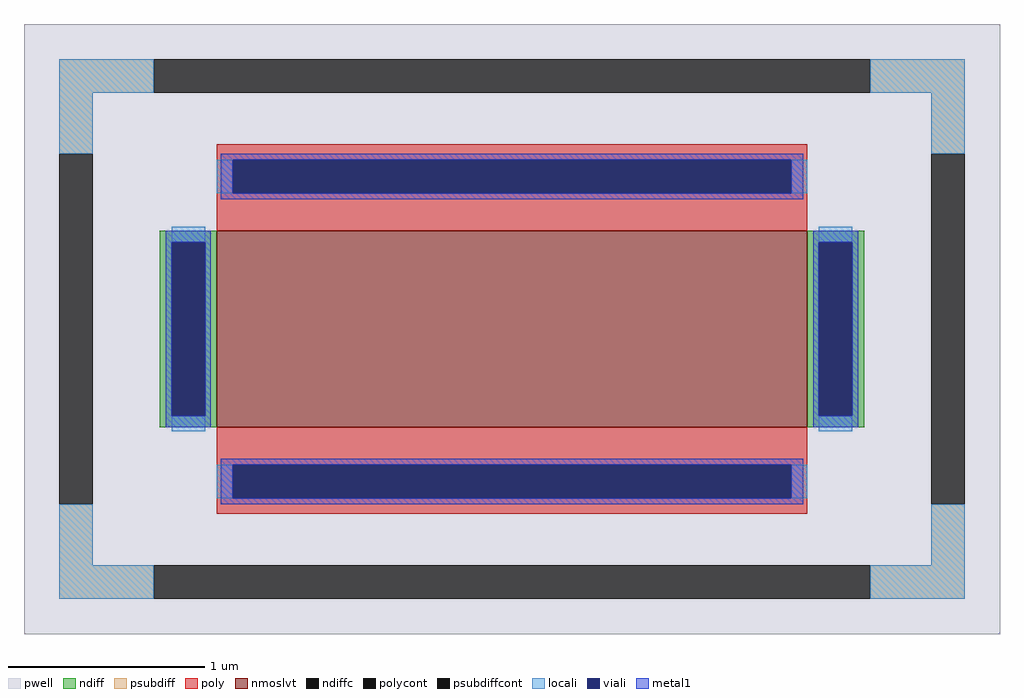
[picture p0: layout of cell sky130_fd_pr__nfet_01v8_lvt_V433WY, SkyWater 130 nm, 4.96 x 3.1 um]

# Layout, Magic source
magic
tech sky130A
<< pwell >>
rect -248 -155 248 155
<< nmoslvt >>
rect -150 -50 150 50
<< ndiff >>
rect -179 44 -150 50
rect -179 -44 -173 44
rect -156 -44 -150 44
rect -179 -50 -150 -44
rect 150 44 179 50
rect 150 -44 156 44
rect 173 -44 179 44
rect 150 -50 179 -44
<< ndiffc >>
rect -173 -44 -156 44
rect 156 -44 173 44
<< psubdiff >>
rect -230 120 -182 137
rect 182 120 230 137
rect -230 89 -213 120
rect 213 89 230 120
rect -230 -120 -213 -89
rect 213 -120 230 -89
rect -230 -137 -182 -120
rect 182 -137 230 -120
<< psubdiffcont >>
rect -182 120 182 137
rect -230 -89 -213 89
rect 213 -89 230 89
rect -182 -137 182 -120
<< poly >>
rect -150 86 150 94
rect -150 69 -142 86
rect 142 69 150 86
rect -150 50 150 69
rect -150 -69 150 -50
rect -150 -86 -142 -69
rect 142 -86 150 -69
rect -150 -94 150 -86
<< polycont >>
rect -142 69 142 86
rect -142 -86 142 -69
<< locali >>
rect -230 120 -182 137
rect 182 120 230 137
rect -230 89 -213 120
rect 213 89 230 120
rect -150 69 -142 86
rect 142 69 150 86
rect -173 44 -156 52
rect -173 -52 -156 -44
rect 156 44 173 52
rect 156 -52 173 -44
rect -150 -86 -142 -69
rect 142 -86 150 -69
rect -230 -120 -213 -89
rect 213 -120 230 -89
rect -230 -137 -182 -120
rect 182 -137 230 -120
<< viali >>
rect -142 69 142 86
rect -173 -44 -156 44
rect 156 -44 173 44
rect -142 -86 142 -69
<< metal1 >>
rect -148 86 148 89
rect -148 69 -142 86
rect 142 69 148 86
rect -148 66 148 69
rect -176 44 -153 50
rect -176 -44 -173 44
rect -156 -44 -153 44
rect -176 -50 -153 -44
rect 153 44 176 50
rect 153 -44 156 44
rect 173 -44 176 44
rect 153 -50 176 -44
rect -148 -69 148 -66
rect -148 -86 -142 -69
rect 142 -86 148 -69
rect -148 -89 148 -86
<< properties >>
string FIXED_BBOX -221 -128 221 128
string gencell sky130_fd_pr__nfet_01v8_lvt
string library sky130
string parameters w 1.0 l 3.0 m 1 nf 1 diffcov 100 polycov 100 guard 1 glc 1 grc 1 gtc 1 gbc 1 tbcov 100 rlcov 100 topc 1 botc 1 poverlap 0 doverlap 1 lmin 0.15 wmin 0.42 compatible {sky130_fd_pr__nfet_01v8 sky130_fd_pr__nfet_01v8_lvt  sky130_fd_bs_flash__special_sonosfet_star  sky130_fd_pr__nfet_g5v0d10v5 sky130_fd_pr__nfet_05v0_nvt  sky130_fd_pr__nfet_03v3_nvt} full_metal 1 viasrc 100 viadrn 100 viagate 100 viagb 0 viagr 0 viagl 0 viagt 0
<< end >>
